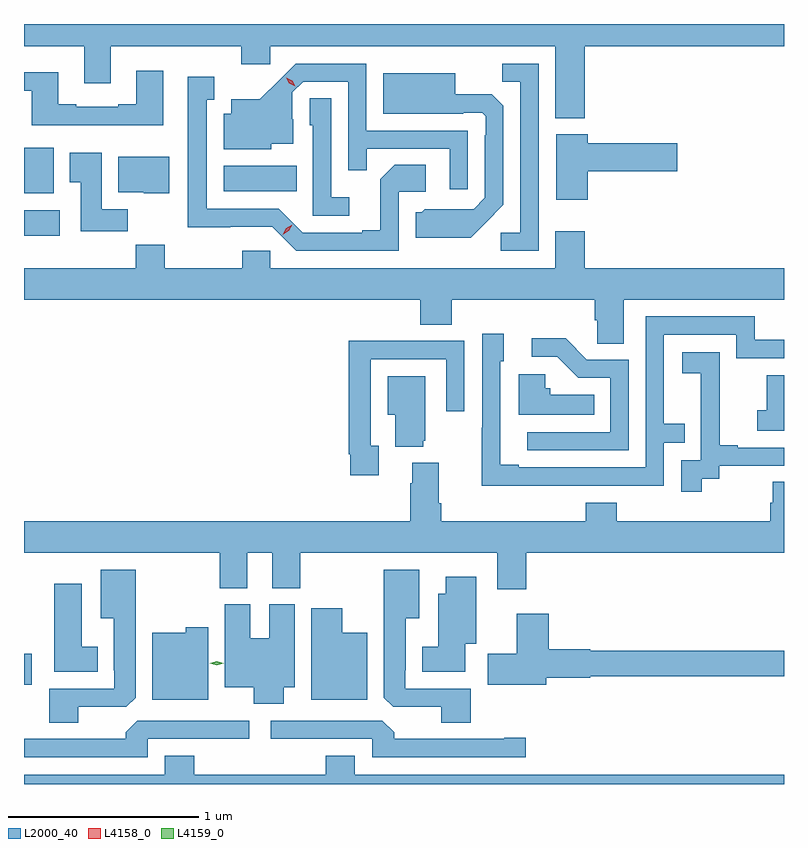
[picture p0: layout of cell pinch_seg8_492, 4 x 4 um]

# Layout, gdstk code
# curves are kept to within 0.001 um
import gdstk
lib = gdstk.Library(unit=1e-6, precision=1e-09)
def R(c, l, rs):  # rectangles x0, y0, x1, y1
    for r in rs: c.add(gdstk.rectangle(r[:2], r[2:], *l))
def P(c, l, *ps):  # polygons
    for p in ps: c.add(gdstk.Polygon(p, *l))
L2000_40 = (2000, 40)
L4158_0 = (4158, 0)
L4159_0 = (4159, 0)

pinch_seg8_492 = lib.new_cell('pinch_seg8_492')
R(pinch_seg8_492, L2000_40, [(156.967,1121.132,157.009,1121.295), (156.967,1123.496,157.156,1123.63), (156.967,1123.718,157.123,1123.96), (158.018,1123.73,158.402,1123.864)])
P(pinch_seg8_492, L2000_40, [(159.917,1124.492),(160.967,1124.492),(160.967,1124.61),(156.967,1124.61),(156.967,1124.492),(157.283,1124.492),(157.283,1124.298),(157.423,1124.298),(157.423,1124.492),(158.111,1124.492),(158.111,1124.397),(158.262,1124.397),(158.262,1124.492),(159.764,1124.492),(159.764,1124.114),(159.917,1124.114)],
  [(159.675,1124.4),(159.484,1124.4),(159.484,1124.305),(159.579,1124.305),(159.579,1123.512),(159.477,1123.512),(159.477,1123.416),(159.675,1123.416)],
  [(159.303,1124.049),(158.769,1124.049),(158.769,1124.4),(158.396,1124.4),(158.209,1124.215),(158.057,1124.215),(158.057,1124.137),(158.018,1124.137),(158.018,1123.952),(158.268,1123.952),(158.268,1123.979),(158.383,1123.979),(158.383,1124.108),(158.379,1124.108),(158.379,1124.25),(158.436,1124.307),(158.673,1124.307),(158.673,1123.84),(158.771,1123.84),(158.771,1123.953),(159.207,1123.953),(159.207,1123.74),(159.303,1123.74)],
  [(157.699,1124.365),(157.559,1124.365),(157.559,1124.188),(157.463,1124.188),(157.463,1124.175),(157.243,1124.175),(157.243,1124.188),(157.147,1124.188),(157.147,1124.356),(156.967,1124.356),(156.967,1124.259),(157.007,1124.259),(157.007,1124.078),(157.699,1124.078)],
  [(159.397,1123.565),(159.489,1123.658),(159.489,1124.18),(159.43,1124.239),(159.238,1124.239),(159.238,1124.35),(158.858,1124.35),(158.858,1124.138),(159.278,1124.138),(159.278,1124.142),(159.378,1124.142),(159.396,1124.124),(159.396,1124.024),(159.393,1124.024),(159.393,1123.695),(159.333,1123.635),(159.076,1123.636),(159.06,1123.62),(159.029,1123.62),(159.029,1123.484),(159.317,1123.484)],
  [(158.94,1123.728),(159.082,1123.728),(159.082,1123.868),(158.917,1123.868),(158.841,1123.792),(158.841,1123.525),(158.747,1123.525),(158.747,1123.512),(158.433,1123.512),(158.307,1123.638),(157.93,1123.638),(157.93,1124.211),(157.969,1124.211),(157.969,1124.332),(157.829,1124.332),(157.829,1123.541),(158.274,1123.542),(158.4,1123.416),(158.94,1123.416)],
  [(158.68,1123.699),(158.583,1123.699),(158.583,1124.219),(158.472,1124.219),(158.472,1124.076),(158.487,1124.076),(158.487,1123.602),(158.68,1123.602)],
  [(159.934,1123.835),(160.405,1123.835),(160.405,1123.982),(159.934,1123.982),(159.934,1124.029),(159.767,1124.029),(159.767,1123.686),(159.934,1123.686)],
  [(157.514,1123.636),(157.375,1123.636),(157.375,1123.933),(157.208,1123.933),(157.208,1123.777),(157.265,1123.777),(157.265,1123.518),(157.514,1123.518)],
  [(157.732,1123.912),(157.463,1123.912),(157.463,1123.724),(157.596,1123.724),(157.596,1123.718),(157.732,1123.718)],
  [(159.917,1123.519),(159.764,1123.519),(159.764,1123.324),(158.262,1123.324),(158.262,1123.417),(158.116,1123.417),(158.116,1123.324),(157.707,1123.324),(157.707,1123.448),(157.555,1123.448),(157.555,1123.324),(156.967,1123.324),(156.967,1123.16),(159.053,1123.16),(159.053,1123.027),(159.218,1123.027),(159.218,1123.16),(159.971,1123.16),(159.971,1123.051),(159.984,1123.051),(159.984,1122.928),(160.123,1122.928),(160.123,1123.16),(160.967,1123.16),(160.967,1123.324),(159.917,1123.324)],
  [(159.839,1122.18),(160.335,1122.18),(160.335,1122.405),(160.445,1122.405),(160.445,1122.506),(160.335,1122.506),(160.335,1122.975),(160.716,1122.975),(160.716,1122.852),(160.967,1122.852),(160.967,1122.948),(160.813,1122.948),(160.813,1123.071),(160.239,1123.071),(160.239,1122.276),(159.571,1122.276),(159.571,1122.289),(159.474,1122.289),(159.474,1122.834),(159.493,1122.834),(159.493,1122.979),(159.378,1122.979),(159.378,1122.485),(159.376,1122.485),(159.376,1122.179),(159.839,1122.179)],
  [(160.149,1122.843),(159.93,1122.843),(159.817,1122.956),(159.639,1122.956),(159.639,1122.858),(159.773,1122.858),(159.884,1122.747),(160.053,1122.747),(160.053,1122.462),(159.615,1122.462),(159.615,1122.366),(160.149,1122.366)],
  [(158.833,1122.39),(158.793,1122.39),(158.793,1122.846),(159.189,1122.846),(159.189,1122.573),(159.285,1122.573),(159.285,1122.942),(158.969,1122.942),(158.969,1122.944),(158.677,1122.944),(158.677,1122.346),(158.685,1122.346),(158.685,1122.234),(158.833,1122.234)],
  [(160.534,1122.217),(160.626,1122.217),(160.626,1122.285),(160.967,1122.285),(160.967,1122.381),(160.723,1122.381),(160.723,1122.394),(160.628,1122.394),(160.628,1122.677),(160.629,1122.677),(160.629,1122.883),(160.431,1122.883),(160.431,1122.773),(160.529,1122.773),(160.529,1122.545),(160.53,1122.545),(160.53,1122.315),(160.425,1122.315),(160.425,1122.147),(160.534,1122.147)],
  [(159.968,1122.658),(159.738,1122.658),(159.738,1122.693),(159.711,1122.693),(159.711,1122.766),(159.572,1122.766),(159.572,1122.554),(159.968,1122.554)],
  [(160.967,1122.762),(160.876,1122.762),(160.876,1122.577),(160.827,1122.577),(160.827,1122.468),(160.967,1122.468)],
  [(159.068,1122.417),(159.079,1122.417),(159.079,1122.757),(158.882,1122.757),(158.882,1122.554),(158.921,1122.554),(158.921,1122.386),(159.068,1122.386)],
  [(160.967,1122.2),(160.907,1122.2),(160.907,1122.09),(160.895,1122.09),(160.895,1121.992),(160.088,1121.992),(160.088,1122.091),(159.923,1122.091),(159.923,1121.992),(159.164,1121.992),(159.164,1122.088),(159.151,1122.088),(159.151,1122.301),(159.011,1122.301),(159.011,1122.194),(158.999,1122.194),(158.999,1121.992),(156.967,1121.992),(156.967,1121.828),(157.996,1121.828),(157.996,1121.641),(158.143,1121.641),(158.143,1121.828),(158.273,1121.828),(158.273,1121.641),(158.421,1121.641),(158.421,1121.828),(159.458,1121.828),(159.458,1121.634),(159.611,1121.634),(159.611,1121.828),(160.967,1121.828)],
  [(157.252,1121.016),(157.506,1121.016),(157.555,1121.065),(157.555,1121.737),(157.37,1121.737),(157.37,1121.483),(157.439,1121.483),(157.439,1121.209),(157.443,1121.209),(157.443,1121.112),(157.1,1121.112),(157.1,1120.933),(157.252,1120.933)],
  [(159.317,1121.112),(158.973,1121.112),(158.973,1121.209),(158.977,1121.209),(158.977,1121.483),(159.046,1121.483),(159.046,1121.737),(158.861,1121.737),(158.861,1121.065),(158.91,1121.016),(159.164,1121.016),(159.164,1120.933),(159.317,1120.933)],
  [(159.289,1121.348),(159.346,1121.348),(159.346,1121.701),(159.188,1121.701),(159.188,1121.611),(159.146,1121.611),(159.146,1121.332),(159.062,1121.332),(159.062,1121.201),(159.289,1121.201)],
  [(157.354,1121.332),(157.27,1121.332),(157.27,1121.665),(157.127,1121.665),(157.127,1121.201),(157.354,1121.201)],
  [(158.335,1121.12),(158.392,1121.12),(158.392,1121.556),(158.258,1121.556),(158.258,1121.377),(158.158,1121.377),(158.158,1121.556),(158.024,1121.556),(158.024,1121.12),(158.177,1121.12),(158.177,1121.033),(158.335,1121.033)],
  [(158.773,1121.407),(158.641,1121.407),(158.641,1121.536),(158.48,1121.536),(158.48,1121.054),(158.773,1121.054)],
  [(159.715,1121.168),(159.948,1121.168),(159.948,1121.176),(160.967,1121.176),(160.967,1121.312),(159.948,1121.312),(159.948,1121.32),(159.728,1121.32),(159.728,1121.506),(159.56,1121.506),(159.56,1121.295),(159.408,1121.295),(159.408,1121.132),(159.715,1121.132)],
  [(157.936,1121.434),(157.818,1121.434),(157.818,1121.407),(157.643,1121.407),(157.643,1121.054),(157.936,1121.054)],
  [(157.617,1120.848),(158.152,1120.848),(158.152,1120.944),(157.563,1120.944),(157.502,1120.882),(157.502,1120.848),(156.967,1120.848),(156.967,1120.752),(157.617,1120.752)],
  [(159.607,1120.853),(159.494,1120.853),(159.494,1120.848),(158.915,1120.848),(158.915,1120.882),(158.853,1120.944),(158.265,1120.944),(158.265,1120.848),(158.799,1120.848),(158.799,1120.752),(159.607,1120.752)],
  [(160.967,1120.66),(158.707,1120.66),(158.707,1120.759),(158.555,1120.759),(158.555,1120.66),(157.862,1120.66),(157.862,1120.759),(157.709,1120.759),(157.709,1120.66),(156.967,1120.66),(156.967,1120.61),(160.967,1120.61)])
P(pinch_seg8_492, L4158_0, [(158.394,1124.282),(158.364,1124.298),(158.347,1124.328),(158.347,1124.328),(158.347,1124.328),(158.378,1124.312),(158.395,1124.282),(158.395,1124.282)],
  [(158.328,1123.502),(158.328,1123.502),(158.346,1123.534),(158.378,1123.553),(158.378,1123.553),(158.378,1123.553),(158.361,1123.521),(158.329,1123.502)])
P(pinch_seg8_492, L4159_0, [(157.981,1121.235),(157.944,1121.245),(157.943,1121.245),(157.944,1121.245),(157.981,1121.255),(158.018,1121.245),(158.018,1121.245),(158.018,1121.245)])

lib.write_gds('pinch_seg8_492.gds')
